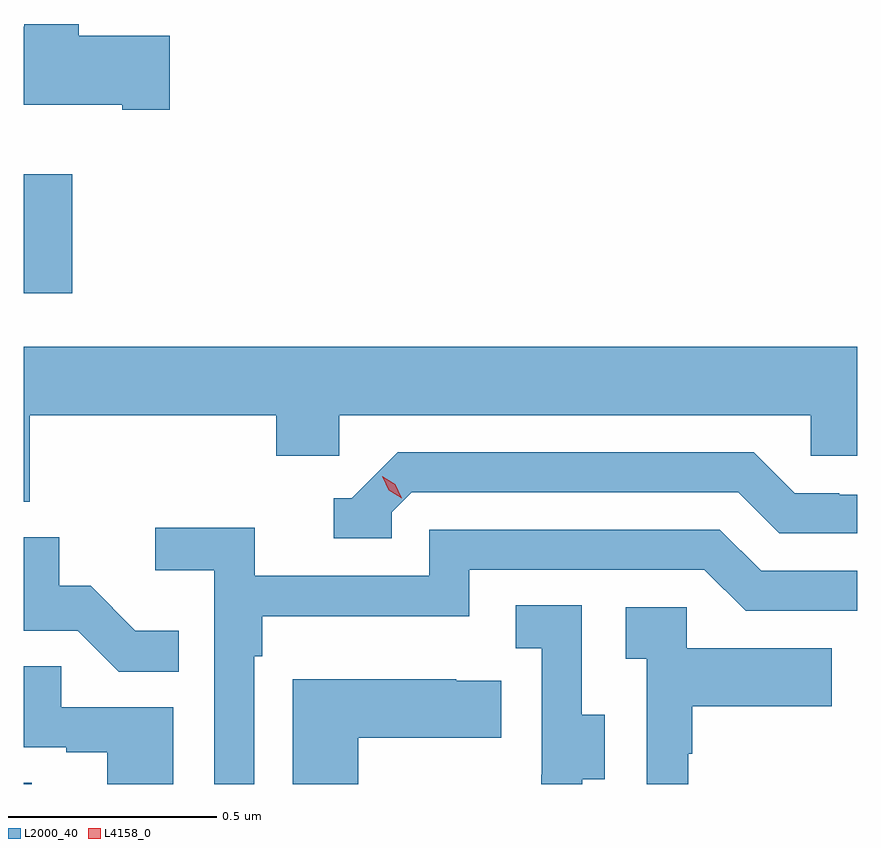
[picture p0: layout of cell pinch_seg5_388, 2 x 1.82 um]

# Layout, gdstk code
import gdstk
lib = gdstk.Library(unit=1e-6, precision=1e-09)
def R(c, l, rs):  # rectangles x0, y0, x1, y1
    for r in rs: c.add(gdstk.rectangle(r[:2], r[2:], *l))
def P(c, l, *ps):  # polygons
    for p in ps: c.add(gdstk.Polygon(p, *l))
L2000_40 = (2000, 40)
L4158_0 = (4158, 0)

pinch_seg5_388 = lib.new_cell('pinch_seg5_388')
R(pinch_seg5_388, L2000_40, [(1001.861,875.855,1001.881,875.858), (1001.861,877.032,1001.978,877.318)])
P(pinch_seg5_388, L2000_40, [(1002.211,877.65),(1001.993,877.65),(1001.993,877.678),(1001.862,877.678),(1001.862,877.672),(1001.861,877.672),(1001.861,877.484),(1002.098,877.484),(1002.098,877.472),(1002.211,877.472)],
  [(1001.876,876.74),(1002.467,876.74),(1002.467,876.642),(1002.618,876.642),(1002.618,876.74),(1003.749,876.74),(1003.749,876.642),(1003.861,876.642),(1003.861,876.904),(1001.861,876.904),(1001.861,876.532),(1001.876,876.532)],
  [(1002.744,876.507),(1002.792,876.555),(1003.575,876.555),(1003.674,876.456),(1003.861,876.456),(1003.861,876.549),(1003.818,876.549),(1003.818,876.552),(1003.711,876.552),(1003.612,876.651),(1002.759,876.651),(1002.648,876.54),(1002.605,876.54),(1002.605,876.444),(1002.744,876.444)],
  [(1002.414,876.161),(1002.434,876.161),(1002.434,876.257),(1002.93,876.257),(1002.93,876.369),(1003.494,876.369),(1003.593,876.27),(1003.861,876.27),(1003.861,876.366),(1003.63,876.366),(1003.531,876.465),(1002.834,876.465),(1002.834,876.354),(1002.416,876.354),(1002.416,876.47),(1002.177,876.47),(1002.177,876.368),(1002.318,876.368),(1002.318,875.855),(1002.414,875.855)],
  [(1002.233,876.223),(1002.129,876.223),(1002.022,876.33),(1001.946,876.33),(1001.946,876.447),(1001.861,876.447),(1001.861,876.222),(1001.991,876.222),(1002.089,876.124),(1002.233,876.124)],
  [(1003.201,875.866),(1003.255,875.866),(1003.255,876.021),(1003.2,876.021),(1003.2,876.284),(1003.041,876.284),(1003.041,876.181),(1003.104,876.181),(1003.104,875.877),(1003.103,875.877),(1003.103,875.855),(1003.201,875.855)],
  [(1003.455,875.927),(1003.465,875.927),(1003.465,876.041),(1003.799,876.041),(1003.799,876.181),(1003.452,876.181),(1003.452,876.279),(1003.305,876.279),(1003.305,876.155),(1003.356,876.155),(1003.356,875.855),(1003.455,875.855)],
  [(1002.22,876.039),(1001.951,876.039),(1001.951,876.137),(1001.861,876.137),(1001.861,875.943),(1001.963,875.943),(1001.963,875.931),(1002.062,875.931),(1002.062,875.855),(1002.22,875.855)],
  [(1002.664,875.966),(1003.007,875.966),(1003.007,876.103),(1002.899,876.103),(1002.899,876.106),(1002.506,876.106),(1002.506,875.855),(1002.664,875.855)])
P(pinch_seg5_388, L4158_0, [(1002.768,876.541),(1002.737,876.56),(1002.721,876.593),(1002.721,876.593),(1002.721,876.593),(1002.752,876.574),(1002.768,876.541),(1002.768,876.541)])

lib.write_gds('pinch_seg5_388.gds')
